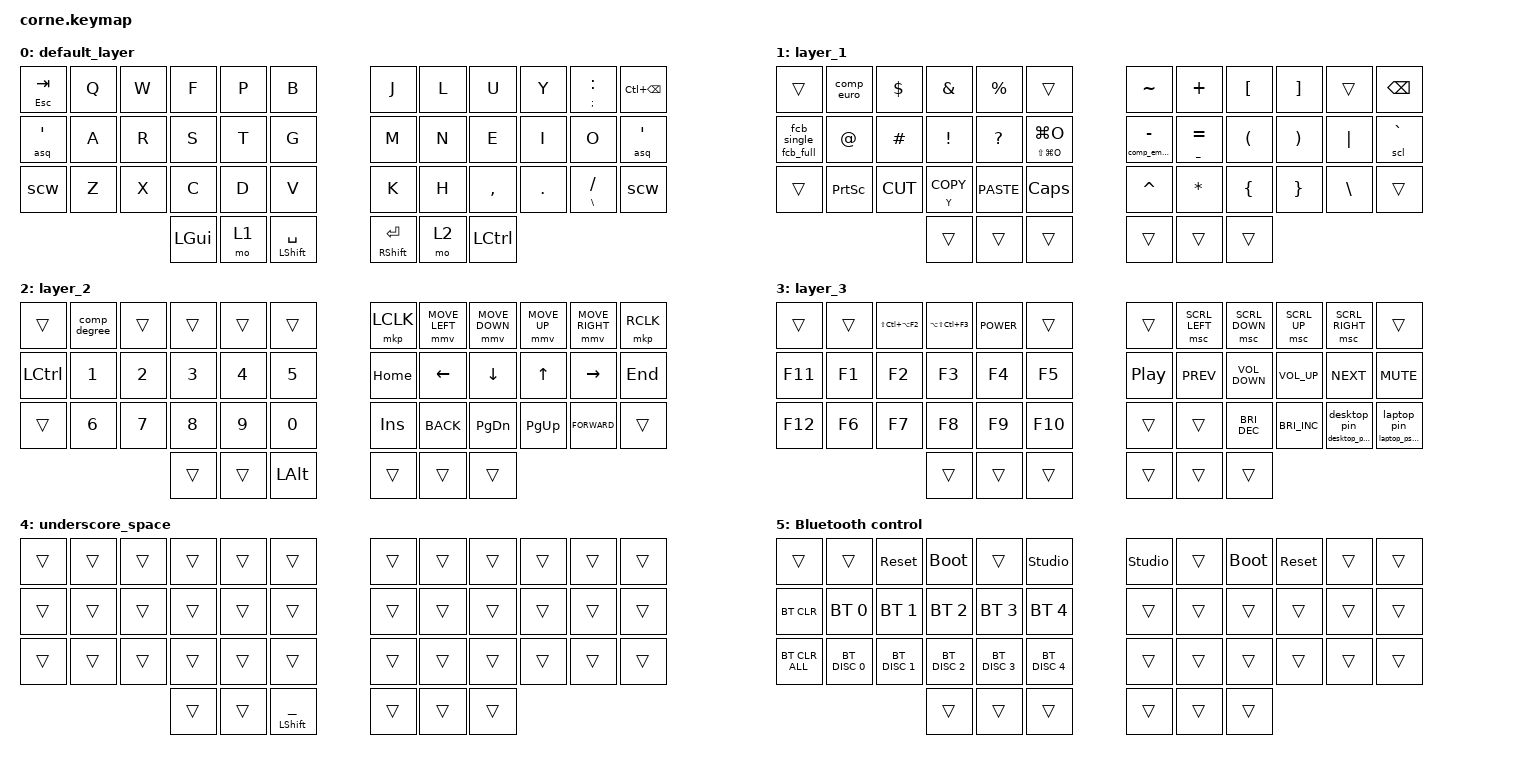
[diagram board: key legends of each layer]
/*
 * Copyright (c) 2020 The ZMK Contributors
 *
 * SPDX-License-Identifier: MIT
 */

#include <behaviors.dtsi>
#include <dt-bindings/zmk/bt.h>
#include <dt-bindings/zmk/keys.h>
#include <dt-bindings/zmk/pointing.h>

/ {
    macros {
        laptop_pswd: laptop_pswd {
            compatible = "zmk,behavior-macro";
            #binding-cells = <0>;
            bindings = <&kp G &kp N0 &kp V &kp N3 &kp R &kp N &kp N3 &kp R>;
            label = "LAPTOP_PSWD";
        };

        desktop_pswd: desktop_pswd {
            compatible = "zmk,behavior-macro";
            #binding-cells = <0>;
            bindings = <&kp R &kp N3 &kp N4 &kp L &kp W &kp N0 &kp R &kp L &kp D>;
            label = "DESKTOP_PSWD";
        };

        fcb_full: fcb {
            compatible = "zmk,behavior-macro";
            #binding-cells = <0>;
            bindings = <&kp GRAVE &kp GRAVE &kp GRAVE &kp LS(ENTER) &kp LS(ENTER) &kp GRAVE &kp GRAVE &kp GRAVE &kp UP_ARROW>;
            label = "Fenced Code Block - Full";
        };

        fcb_single: fcb_single {
            compatible = "zmk,behavior-macro";
            #binding-cells = <0>;
            bindings = <&kp GRAVE &kp GRAVE &kp GRAVE>;
            label = "Fenced Code Block - Single";
        };

        laptop_pin: laptop_pin {
            compatible = "zmk,behavior-macro";
            #binding-cells = <0>;
            bindings = <&kp N3 &kp N6 &kp N9 &kp N6>;
            label = "LAPTOP_PIN";
        };

        desktop_pin: desktop_pin {
            compatible = "zmk,behavior-macro";
            #binding-cells = <0>;
            bindings = <&kp N2 &kp N8 &kp N8 &kp N4>;
            label = "DESKTOP_PIN";
        };

        pswd: pswd {
            compatible = "zmk,behavior-macro";
            #binding-cells = <0>;
            bindings = <&kp LS(T) &kp K_CMENU &kp DQT &kp A &kp K_CMENU &kp DQT &kp A &kp N0 &kp N &kp LS(M) &kp U &kp N &kp LS(M) &kp AT &kp S &kp T &kp E &kp R &kp N1 &kp AT &kp V &kp AT &kp N1 &kp N>;
            label = "PSWD";
        };

        comp_o_a: comp_o_a {
            compatible = "zmk,behavior-macro";
            #binding-cells = <0>;
            bindings = <&compk &kp O &kp A>;
            label = "COMPOSE_O_A";
        };

        comp_uml_a: comp_uml_a {
            compatible = "zmk,behavior-macro";
            #binding-cells = <0>;
            bindings = <&compk &kp DOUBLE_QUOTES &kp A>;
            label = "COMPOSE_UMLAUT_A";
        };

        comp_uml_o: comp_uml_o {
            compatible = "zmk,behavior-macro";
            #binding-cells = <0>;
            bindings = <&compk &kp DOUBLE_QUOTES &kp O>;
            label = "COMPOSE_UMLAUT_O";
        };

        compk: compk {
            compatible = "zmk,behavior-macro";
            #binding-cells = <0>;
            bindings = <&kp K_CMENU>;
            label = "COMPOSE_KEY";
        };

        comp_euro: comp_euro {
            compatible = "zmk,behavior-macro";
            #binding-cells = <0>;
            bindings = <&compk &kp EQUAL &kp C>;
            label = "COMP_EURO";
        };

        comp_degree: comp_degree {
            compatible = "zmk,behavior-macro";
            #binding-cells = <0>;
            bindings = <&compk &kp O &kp O>;
            label = "COMP_DEGREE";
        };

        comp_emdash: comp_emdash {
            compatible = "zmk,behavior-macro";
            #binding-cells = <0>;
            bindings = <&compk &kp MINUS &kp MINUS &kp MINUS>;
            label = "COMP_EMDASH";
        };

        you: you {
            compatible = "zmk,behavior-macro";
            #binding-cells = <0>;
            bindings = <&kp Y &kp O &kp U>;
            label = "YOU";
        };

        scl: scl {
            compatible = "zmk,behavior-macro";
            #binding-cells = <0>;
            bindings = <&kp GRAVE &kp GRAVE &kp LEFT>;
            label = "Single Code Line";
        };

        arb: arb {
            compatible = "zmk,behavior-macro";
            #binding-cells = <0>;
            bindings = <&kp LPAR &kp RPAR &kp LEFT_ARROW>;
            label = "Auto Round Brackets";
        };

        asb: asb {
            compatible = "zmk,behavior-macro";
            #binding-cells = <0>;
            bindings = <&kp LBKT &kp RBKT &kp LEFT>;
            label = "Auto Square Brackets";
        };

        acb: acb {
            compatible = "zmk,behavior-macro";
            #binding-cells = <0>;
            bindings = <&kp LBRC &kp RBRC &kp LEFT>;
            label = "Auto Curly Brackets";
        };

        aab: aab {
            compatible = "zmk,behavior-macro";
            #binding-cells = <0>;
            bindings = <&kp LT &kp GT &kp LEFT>;
            label = "Auto Angled Brackets";
        };

        w_im: w_im {
            compatible = "zmk,behavior-macro";
            #binding-cells = <0>;
            bindings = <&kp LS(I) &kp SQT &kp M>;
            label = "Word I'm";
        };

        w_the: w_the {
            compatible = "zmk,behavior-macro";
            #binding-cells = <0>;
            bindings = <&kp T &kp H &kp E>;
            label = "W_THE";
        };

        w_and: w_and {
            compatible = "zmk,behavior-macro";
            #binding-cells = <0>;
            bindings = <&kp A &kp N &kp D>;
            label = "W_AND";
        };

        w_have: w_have {
            compatible = "zmk,behavior-macro";
            #binding-cells = <0>;
            bindings = <&kp H &kp A &kp V &kp E>;
            label = "W_HAVE";
        };

        w_that: w_that {
            compatible = "zmk,behavior-macro";
            #binding-cells = <0>;
            bindings = <&kp T &kp H &kp A &kp T>;
            label = "W_THAT";
        };

        w_with: w_with {
            compatible = "zmk,behavior-macro";
            #binding-cells = <0>;
            bindings = <&kp W &kp I &kp T &kp H>;
            label = "W_WITH";
        };

        w_about: w_about {
            compatible = "zmk,behavior-macro";
            #binding-cells = <0>;
            bindings = <&kp A &kp B &kp O &kp U &kp T>;
            label = "W_ABOUT";
        };

        w_which: w_which {
            compatible = "zmk,behavior-macro";
            #binding-cells = <0>;
            bindings = <&kp W &kp H &kp I &kp C &kp H>;
            label = "W_WHICH";
        };

        w_laptop: w_laptop {
            compatible = "zmk,behavior-macro";
            #binding-cells = <0>;
            bindings = <&kp L &kp A &kp P &kp T &kp O &kp P>;
            label = "W_LAPTOP";
        };

        w_computer: w_computer {
            compatible = "zmk,behavior-macro";
            #binding-cells = <0>;
            bindings = <&kp C &kp O &kp M &kp P &kp U &kp T &kp E &kp R>;
            label = "W_COMPUTER";
        };

        n_ip: n_ip {
            compatible = "zmk,behavior-macro";
            #binding-cells = <0>;
            bindings = <&kp N1 &kp N9 &kp N2 &kp DOT &kp N1 &kp N6 &kp N8 &kp DOT>;
            label = "Numbers: IP ";
        };

        w_what: w_what {
            compatible = "zmk,behavior-macro";
            #binding-cells = <0>;
            bindings = <&kp W &kp H &kp A &kp T>;
            label = "W_WHAT";
        };

        w_why: w_why {
            compatible = "zmk,behavior-macro";
            #binding-cells = <0>;
            bindings = <&kp W &kp H &kp Y>;
            label = "W_WHY";
        };

        w_when: w_when {
            compatible = "zmk,behavior-macro";
            #binding-cells = <0>;
            bindings = <&kp W &kp H &kp E &kp N>;
            label = "W_WHEN";
        };

        w_who: w_who {
            compatible = "zmk,behavior-macro";
            #binding-cells = <0>;
            bindings = <&kp W &kp H &kp O>;
            label = "W_WHO";
        };

        w_how: w_how {
            compatible = "zmk,behavior-macro";
            #binding-cells = <0>;
            bindings = <&kp H &kp O &kp W>;
            label = "W_HOW";
        };

        w_this: w_this {
            compatible = "zmk,behavior-macro";
            #binding-cells = <0>;
            bindings = <&kp T &kp H &kp I &kp S>;
            label = "W_THIS";
        };

        w_should: w_should {
            compatible = "zmk,behavior-macro";
            #binding-cells = <0>;
            bindings = <&kp S &kp H &kp O &kp U &kp L &kp D>;
            label = "W_SHOULD";
        };

        w_would: w_would {
            compatible = "zmk,behavior-macro";
            #binding-cells = <0>;
            bindings = <&kp W &kp O &kp U &kp L &kp D>;
            label = "W_WOULD";
        };

        adq: adq {
            compatible = "zmk,behavior-macro";
            #binding-cells = <0>;
            bindings = <&kp DQT &kp DQT &kp LEFT>;
            label = "Automatic Double Quote";
        };

        asq: asq {
            compatible = "zmk,behavior-macro";
            #binding-cells = <0>;
            bindings = <&kp SQT &kp SQT &kp LEFT>;
            label = "Automatic Single Quote";
        };

        vsa: vim_select_all {
            compatible = "zmk,behavior-macro";
            #binding-cells = <0>;
            bindings = <&kp G &kp G &kp LS(V) &kp LS(G)>;
            label = "Vim Select All";
        };
    };

    behaviors {
        ht_kp: ht_kp {
            compatible = "zmk,behavior-hold-tap";
            label = "Hold Tap - Key Press";
            bindings = <&kp>, <&kp>;

            #binding-cells = <2>;
            tapping-term-ms = <200>;
            flavor = "hold-preferred";
        };

        scw: scw {
            compatible = "zmk,behavior-tap-dance";
            label = "Shift Caps Word";
            #binding-cells = <0>;
            bindings = <&kp LEFT_SHIFT>, <&kt LEFT_SHIFT>;
        };

        auto_fcb: auto_fcb {
            compatible = "zmk,behavior-hold-tap";
            label = "Automatic Fenced Code Block";
            bindings = <&fcb_full>, <&fcb_single>;

            #binding-cells = <2>;
            tapping-term-ms = <400>;
            quick-tap-ms = <400>;
            require-prior-idle-ms = <400>;
        };

        ht_kp_hwu: ht_kp_hwu {
            compatible = "zmk,behavior-hold-tap";
            label = "Hold Tap - Key Press - Hold While Undecided";
            bindings = <&kp>, <&kp>;

            #binding-cells = <2>;
            tapping-term-ms = <200>;
            flavor = "hold-preferred";
            hold-while-undecided;
        };

        laptop_secrets: laptop_secrets {
            compatible = "zmk,behavior-hold-tap";
            label = "LAPTOP_SECRETS";
            bindings = <&laptop_pswd>, <&laptop_pin>;

            #binding-cells = <2>;
            tapping-term-ms = <400>;
        };

        desktop_secrets: desktop_secrets {
            compatible = "zmk,behavior-hold-tap";
            label = "DESKTOP_SECRETS";
            bindings = <&desktop_pswd>, <&desktop_pin>;

            #binding-cells = <2>;
            tapping-term-ms = <400>;
            flavor = "tap-preferred";
        };

        ht_kp_em: ht_kp_em {
            compatible = "zmk,behavior-hold-tap";
            label = "Hold Tap - Key Press - Em dash";
            #binding-cells = <2>;
            tapping-term-ms = <200>;
            flavor = "hold-preferred";
            bindings = <&comp_emdash>, <&kp>;
        };

        st_kp_scl: st_kp_scl {
            compatible = "zmk,behavior-hold-tap";
            label = "old Tap - Key Press - Single Code Line";
            #binding-cells = <2>;
            tapping-term-ms = <200>;
            flavor = "hold-preferred";
            bindings = <&scl>, <&kp>;
        };

        lsk: lsk {
            compatible = "zmk,behavior-sticky-key";
            label = "Lazy Sticky Key";
            bindings = <&kp>;
            #binding-cells = <1>;
            lazy;
            release-after-ms = <2000>;
        };

        qsk: qsk {
            compatible = "zmk,behavior-sticky-key";
            label = "Quick-relase Sticky Key";
            bindings = <&kp>;
            #binding-cells = <1>;
            quick-release;
            release-after-ms = <3000>;
        };

        ht_adq_kp: ht_adq_kp {
            compatible = "zmk,behavior-hold-tap";
            label = "Hold Tap - Auto Doube Quote - Key Press";
            #binding-cells = <2>;
            tapping-term-ms = <200>;
            flavor = "hold-preferred";
            bindings = <&adq>, <&kp>;
        };

        ht_asq_kp: ht_asq_kp {
            compatible = "zmk,behavior-hold-tap";
            label = "Hold Tap - Auto Single Quotatoin - Key Press";
            #binding-cells = <2>;
            tapping-term-ms = <200>;
            flavor = "hold-preferred";
            bindings = <&asq>, <&kp>;
        };

        ht_vsa_kp: ht_vsa_kp {
            compatible = "zmk,behavior-hold-tap";
            label = "Hold Tap - Vim Select All - Key Press";
            #binding-cells = <2>;
            tapping-term-ms = <200>;
            flavor = "hold-preferred";
            bindings = <&vsa>, <&kp>;
        };
    };

    combos {
        compatible = "zmk,combos";

        you_combo {
            bindings = <&you>;
            key-positions = <9 22>;
            layers = <0>;
        };

        backspace {
            bindings = <&kp BACKSPACE>;
            key-positions = <15 17>;
            layers = <0>;
        };

        hard_backspace {
            bindings = <&kp LC(BACKSPACE)>;
            key-positions = <15 16>;
            layers = <0>;
        };

        underscore {
            bindings = <&kp UNDER>;
            key-positions = <32 31>;
            layers = <0>;
        };

        ht_kp-minus-em_dash {
            bindings = <&ht_kp_em 0 MINUS>;
            key-positions = <20 19>;
            layers = <0>;
        };

        undo {
            bindings = <&kp LC(Z)>;
            key-positions = <25 26>;
            layers = <0>;
        };

        auto_round_brackets {
            bindings = <&arb>;
            key-positions = <21 20>;
            layers = <0>;
            require-prior-idle-ms = <250>;
        };

        auto_scuare_brackets {
            bindings = <&asb>;
            key-positions = <8 9>;
            layers = <0>;
        };

        auto_curly_brackets {
            bindings = <&acb>;
            key-positions = <32 33>;
            layers = <0>;
        };

        auto_angled_brackets {
            bindings = <&aab>;
            key-positions = <32 33 34>;
            layers = <0>;
        };

        pswd {
            bindings = <&pswd>;
            key-positions = <34 35>;
            layers = <3>;
        };

        ctrl_w {
            bindings = <&kp LC(W)>;
            key-positions = <28 27>;
            layers = <0>;
        };

        escape {
            bindings = <&kp ESCAPE>;
            key-positions = <4 3>;
            layers = <0>;
        };

        save {
            bindings = <&kp LC(S)>;
            key-positions = <14 15>;
            layers = <0>;
        };

        select_all {
            bindings = <&ht_vsa_kp 0 LC(A)>;
            key-positions = <13 14>;
            layers = <0>;
        };

        stop_command {
            bindings = <&kp LC(C)>;
            key-positions = <26 27>;
            layers = <0>;
        };

        toggle_layer4 {
            bindings = <&tog 4>;
            key-positions = <38 31 32>;
            layers = <0 4>;
        };

        delete {
            bindings = <&kp DELETE>;
            key-positions = <15 5>;
            layers = <0>;
        };

        ctrl_delete {
            bindings = <&kp LC(DELETE)>;
            key-positions = <15 4>;
            layers = <0>;
        };

        word_im {
            bindings = <&w_im>;
            key-positions = <18 21>;
            layers = <0>;
            require-prior-idle-ms = <250>;
        };

        word_the {
            bindings = <&w_the>;
            key-positions = <16 20>;
            layers = <0>;
            require-prior-idle-ms = <250>;
        };

        word_and {
            bindings = <&w_and>;
            key-positions = <13 28>;
            layers = <0>;
        };

        word_have {
            bindings = <&w_have>;
            key-positions = <31 29>;
            layers = <0>;
        };

        word_that {
            bindings = <&w_that>;
            key-positions = <16 13>;
            layers = <0>;
        };

        w_with {
            bindings = <&w_with>;
            key-positions = <2 16>;
            layers = <0>;
        };

        word_about {
            bindings = <&w_about>;
            key-positions = <13 5>;
            layers = <0>;
        };

        word_which {
            bindings = <&w_which>;
            key-positions = <2 21>;
            layers = <0>;
        };

        number_ip {
            bindings = <&n_ip>;
            key-positions = <13 14 28>;
            layers = <2>;
        };

        word_what {
            bindings = <&w_what>;
            key-positions = <2 13>;
            layers = <0>;
        };

        word_why {
            bindings = <&w_why>;
            key-positions = <2 9>;
            layers = <0>;
        };

        word_when {
            bindings = <&w_when>;
            key-positions = <2 20>;
            layers = <0>;
        };

        word_who {
            bindings = <&w_who>;
            key-positions = <2 22>;
            layers = <0>;
        };

        c_y {
            bindings = <&kp Y>;
            key-positions = <13 17>;
            layers = <0>;
        };

        c_I {
            bindings = <&kp LS(I)>;
            key-positions = <15 21>;
            layers = <0>;
            require-prior-idle-ms = <250>;
        };

        word_how {
            bindings = <&w_how>;
            key-positions = <31 2>;
            layers = <0>;
        };

        comp_o_a {
            bindings = <&comp_o_a>;
            key-positions = <22 13>;
            layers = <0>;
        };

        comp_uml_a {
            bindings = <&comp_uml_a>;
            key-positions = <13 23>;
            layers = <0>;
        };

        comp_uml_o {
            bindings = <&comp_uml_o>;
            key-positions = <22 12>;
            layers = <0>;
        };

        mouse_middle_click {
            bindings = <&mkp MCLK>;
            key-positions = <6 11>;
            layers = <2>;
        };

        sticky_layer_bt_right {
            bindings = <&sl 5>;
            key-positions = <39 40>;
            layers = <0>;
        };

        sticky_layer_bt_left {
            bindings = <&sl 5>;
            key-positions = <37 38>;
            layers = <0>;
        };

        sticky_shift {
            bindings = <&qsk LEFT_SHIFT>;
            key-positions = <15 20>;
            layers = <0 4>;
        };

        word_this {
            bindings = <&w_this>;
            key-positions = <16 21>;
            layers = <0>;
        };

        word_should {
            bindings = <&w_should>;
            key-positions = <15 22>;
            layers = <0>;
        };

        word_would {
            bindings = <&w_would>;
            key-positions = <2 8>;
            layers = <0>;
        };

        toggle_shift {
            bindings = <&kt LEFT_SHIFT>;
            key-positions = <24 35>;
            layers = <0 4>;
        };

        double_quotes {
            bindings = <&ht_adq_kp 0 DOUBLE_QUOTES>;
            key-positions = <12 23>;
            layers = <0>;
        };

        lalt_l {
            bindings = <&kp LEFT_ALT>;
            key-positions = <1 4>;
        };

        lalt_r {
            bindings = <&kp LEFT_ALT>;
            key-positions = <7 10>;
        };

        ctrl_l {
            bindings = <&kp LCTRL>;
            key-positions = <16 27>;
        };

        ctrl_r {
            bindings = <&kp LCTRL>;
            key-positions = <19 32>;
        };

        tab_l {
            bindings = <&kp TAB>;
            key-positions = <2 3>;
        };

        tab_r {
            bindings = <&kp TAB>;
            key-positions = <8 9>;
        };
    };

    keymap {
        compatible = "zmk,keymap";

        default_layer {
            bindings = <
&ht_kp ESCAPE TAB  &kp Q  &kp W  &kp F         &kp P  &kp B                          &kp J                         &kp L  &kp U      &kp Y    &ht_kp SEMICOLON COLON  &kp LC(BACKSPACE)
&ht_asq_kp 0 SQT   &kp A  &kp R  &kp S         &kp T  &kp G                          &kp M                         &kp N  &kp E      &kp I    &kp O                   &ht_asq_kp 0 SQT
&scw               &kp Z  &kp X  &kp C         &kp D  &kp V                          &kp K                         &kp H  &kp COMMA  &kp DOT  &ht_kp BACKSLASH SLASH  &scw
                                 &kp LEFT_GUI  &mo 1  &ht_kp_hwu LEFT_SHIFT SPACE    &ht_kp_hwu RIGHT_SHIFT ENTER  &mo 2  &kp LCTRL
            >;
        };

        layer_1 {
            bindings = <
&trans         &comp_euro       &kp DOLLAR  &kp AMPERSAND    &kp PERCENT   &trans                    &kp TILDE          &kp PLUS                 &kp LEFT_BRACKET      &kp RIGHT_BRACKET      &trans         &kp BACKSPACE
&auto_fcb 0 0  &kp AT_SIGN      &kp HASH    &kp EXCLAMATION  &kp QUESTION  &ht_kp LS(LG(O)) LG(O)    &ht_kp_em 0 MINUS  &ht_kp UNDERSCORE EQUAL  &kp LEFT_PARENTHESIS  &kp RIGHT_PARENTHESIS  &kp PIPE       &st_kp_scl 0 GRAVE
&trans         &kp PRINTSCREEN  &kp K_CUT   &ht_kp Y K_COPY  &kp K_PASTE   &kp CAPSLOCK              &kp CARET          &kp ASTERISK             &kp LEFT_BRACE        &kp RIGHT_BRACE        &kp BACKSLASH  &trans
                                            &trans           &trans        &trans                    &trans             &trans                   &trans
            >;
        };

        layer_2 {
            // -----------------------------------------------------------------------------------------
            // |  TAB |  1  |  2  |  3  |  4  |  5  |   |  6  |  7  |  8  |  9  |  0  | BSPC |
            // | BTCLR| BT1 | BT2 | BT3 | BT4 | BT5 |   | LFT | DWN |  UP | RGT |     |      |
            // | SHFT |     |     |     |     |     |   |     |     |     |     |     |      |
            //                    | GUI |     | SPC |   | ENT |     | ALT |

            bindings = <
&trans     &comp_degree  &trans  &trans  &trans  &trans          &mkp LCLK   &mmv MOVE_LEFT  &mmv MOVE_DOWN  &mmv MOVE_UP  &mmv MOVE_RIGHT  &mkp RCLK
&kp LCTRL  &kp N1        &kp N2  &kp N3  &kp N4  &kp N5          &kp HOME    &kp LEFT        &kp DOWN        &kp UP        &kp RIGHT        &kp END
&trans     &kp N6        &kp N7  &kp N8  &kp N9  &kp N0          &kp INSERT  &kp K_BACK      &kp PAGE_DOWN   &kp PG_UP     &kp K_FORWARD    &trans
                                 &trans  &trans  &kp LEFT_ALT    &trans      &trans          &trans
            >;
        };

        layer_3 {
            bindings = <
&trans   &trans  &kp LS(LC(LA(F2)))  &kp LA(LS(LC(F3)))  &kp K_POWER  &trans     &trans            &msc SCRL_LEFT  &msc SCRL_DOWN        &msc SCRL_UP          &msc SCRL_RIGHT       &trans
&kp F11  &kp F1  &kp F2              &kp F3              &kp F4       &kp F5     &kp C_PLAY_PAUSE  &kp C_PREV      &kp C_VOLUME_DOWN     &kp C_VOLUME_UP       &kp C_NEXT            &kp K_MUTE
&kp F12  &kp F6  &kp F7              &kp F8              &kp F9       &kp F10    &trans            &trans          &kp C_BRIGHTNESS_DEC  &kp C_BRIGHTNESS_INC  &desktop_secrets 0 0  &laptop_secrets 0 0
                                     &trans              &trans       &trans     &trans            &trans          &trans
            >;
        };

        underscore_space {
            bindings = <
&trans  &trans  &trans  &trans  &trans  &trans                              &trans  &trans  &trans  &trans  &trans  &trans
&trans  &trans  &trans  &trans  &trans  &trans                              &trans  &trans  &trans  &trans  &trans  &trans
&trans  &trans  &trans  &trans  &trans  &trans                              &trans  &trans  &trans  &trans  &trans  &trans
                        &trans  &trans  &ht_kp_hwu LEFT_SHIFT UNDERSCORE    &trans  &trans  &trans
            >;
        };

        bt_layer {
            bindings = <
&trans          &trans         &sys_reset     &bootloader    &trans         &studio_unlock    &studio_unlock  &trans  &bootloader  &sys_reset  &trans  &trans
&bt BT_CLR      &bt BT_SEL 0   &bt BT_SEL 1   &bt BT_SEL 2   &bt BT_SEL 3   &bt BT_SEL 4      &trans          &trans  &trans       &trans      &trans  &trans
&bt BT_CLR_ALL  &bt BT_DISC 0  &bt BT_DISC 1  &bt BT_DISC 2  &bt BT_DISC 3  &bt BT_DISC 4     &trans          &trans  &trans       &trans      &trans  &trans
                                              &trans         &trans         &trans            &trans          &trans  &trans
            >;

            label = "Bluetooth control";
        };
    };

    conditional_layers {
        compatible = "zmk,conditional-layers";

        layer-ception {
            if-layers = <1 2>;
            then-layer = <3>;
        };
    };
};
